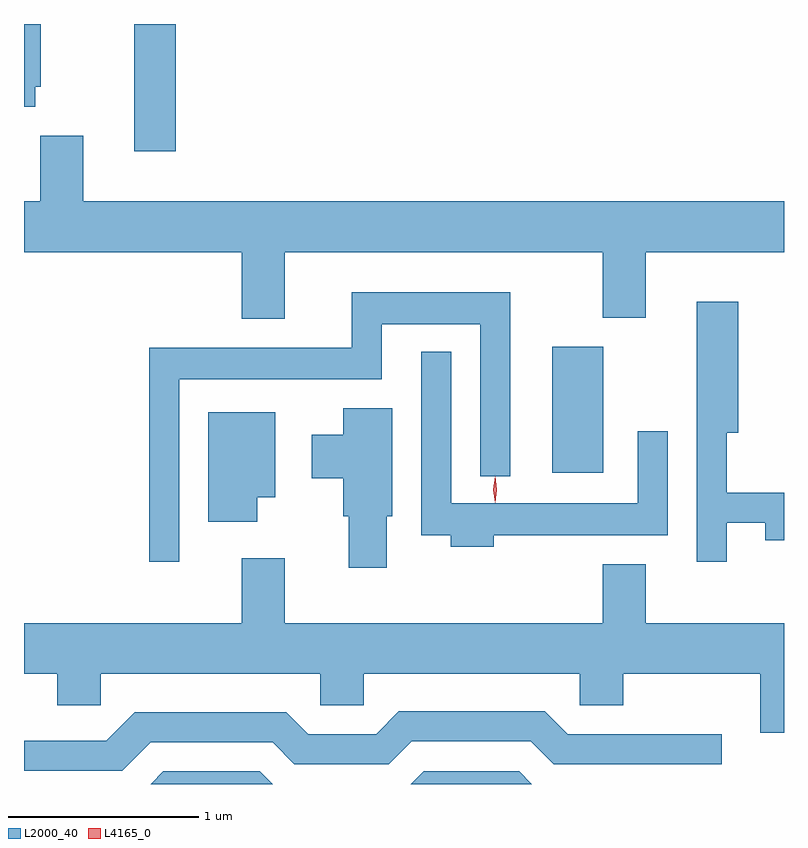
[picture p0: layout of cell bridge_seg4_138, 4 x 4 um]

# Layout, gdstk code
import gdstk
lib = gdstk.Library(unit=1e-6, precision=1e-09)
def R(c, l, rs):  # rectangles x0, y0, x1, y1
    for r in rs: c.add(gdstk.rectangle(r[:2], r[2:], *l))
def P(c, l, *ps):  # polygons
    for p in ps: c.add(gdstk.Polygon(p, *l))
L2000_40 = (2000, 40)
L4165_0 = (4165, 0)

bridge_seg4_138 = lib.new_cell('bridge_seg4_138')
R(bridge_seg4_138, L2000_40, [(872.746,1313.556,873.014,1314.219), (870.546,1315.246,870.764,1315.917)])
P(bridge_seg4_138, L2000_40, [(870.024,1315.586),(870.054,1315.586),(870.054,1315.917),(869.966,1315.917),(869.966,1315.481),(870.024,1315.481)],
  [(870.279,1315.329),(870.051,1315.329),(870.051,1314.984),(869.966,1314.984),(869.966,1314.716),(871.111,1314.716),(871.111,1314.366),(871.339,1314.366),(871.339,1314.716),(873.011,1314.716),(873.011,1314.371),(873.239,1314.371),(873.239,1314.716),(873.966,1314.716),(873.966,1314.984),(870.279,1314.984)],
  [(870.784,1314.046),(871.849,1314.046),(871.849,1314.336),(872.366,1314.336),(872.366,1313.538),(872.524,1313.538),(872.524,1314.504),(871.691,1314.504),(871.691,1314.214),(870.626,1314.214),(870.626,1313.088),(870.784,1313.088)],
  [(873.664,1313.291),(873.866,1313.291),(873.866,1313.201),(873.966,1313.201),(873.966,1313.449),(873.664,1313.449),(873.664,1313.766),(873.724,1313.766),(873.724,1314.454),(873.506,1314.454),(873.506,1313.088),(873.664,1313.088)],
  [(872.439,1313.226),(873.354,1313.226),(873.354,1313.773),(873.196,1313.773),(873.196,1313.394),(872.214,1313.394),(872.214,1314.193),(872.056,1314.193),(872.056,1313.226),(872.211,1313.226),(872.211,1313.166),(872.439,1313.166)],
  [(871.874,1313.326),(871.904,1313.326),(871.904,1313.894),(871.646,1313.894),(871.646,1313.754),(871.481,1313.754),(871.481,1313.526),(871.646,1313.526),(871.646,1313.326),(871.676,1313.326),(871.676,1313.056),(871.874,1313.056)],
  [(871.194,1313.426),(871.289,1313.426),(871.289,1313.874),(870.936,1313.874),(870.936,1313.296),(871.194,1313.296)],
  [(873.966,1312.764),(873.239,1312.764),(873.239,1313.074),(873.011,1313.074),(873.011,1312.764),(871.339,1312.764),(871.339,1313.104),(871.111,1313.104),(871.111,1312.764),(869.966,1312.764),(869.966,1312.496),(870.141,1312.496),(870.141,1312.331),(870.369,1312.331),(870.369,1312.496),(871.526,1312.496),(871.526,1312.331),(871.754,1312.331),(871.754,1312.496),(872.891,1312.496),(872.891,1312.331),(873.119,1312.331),(873.119,1312.496),(873.841,1312.496),(873.841,1312.186),(873.966,1312.186)],
  [(870.632,1312.136),(871.274,1312.136),(871.389,1312.021),(871.887,1312.021),(872.007,1312.141),(872.634,1312.141),(872.754,1312.021),(873.638,1312.021),(873.638,1312.179),(872.827,1312.179),(872.707,1312.299),(871.939,1312.299),(871.819,1312.179),(871.462,1312.179),(871.347,1312.294),(870.549,1312.294),(870.399,1312.144),(869.966,1312.144),(869.966,1311.986),(870.482,1311.986)],
  [(872.572,1311.984),(872.069,1311.984),(872.002,1311.917),(872.639,1311.917)],
  [(871.207,1311.984),(870.699,1311.984),(870.632,1311.917),(871.274,1311.917)])
P(bridge_seg4_138, L4165_0, [(872.445,1313.397),(872.445,1313.398),(872.436,1313.467),(872.445,1313.536),(872.445,1313.536),(872.446,1313.536),(872.455,1313.467),(872.446,1313.398)],
  [(872.445,1313.399),(872.445,1313.4),(872.435,1313.466),(872.445,1313.532),(872.445,1313.533),(872.446,1313.532),(872.455,1313.466),(872.446,1313.4)])

lib.write_gds('bridge_seg4_138.gds')
